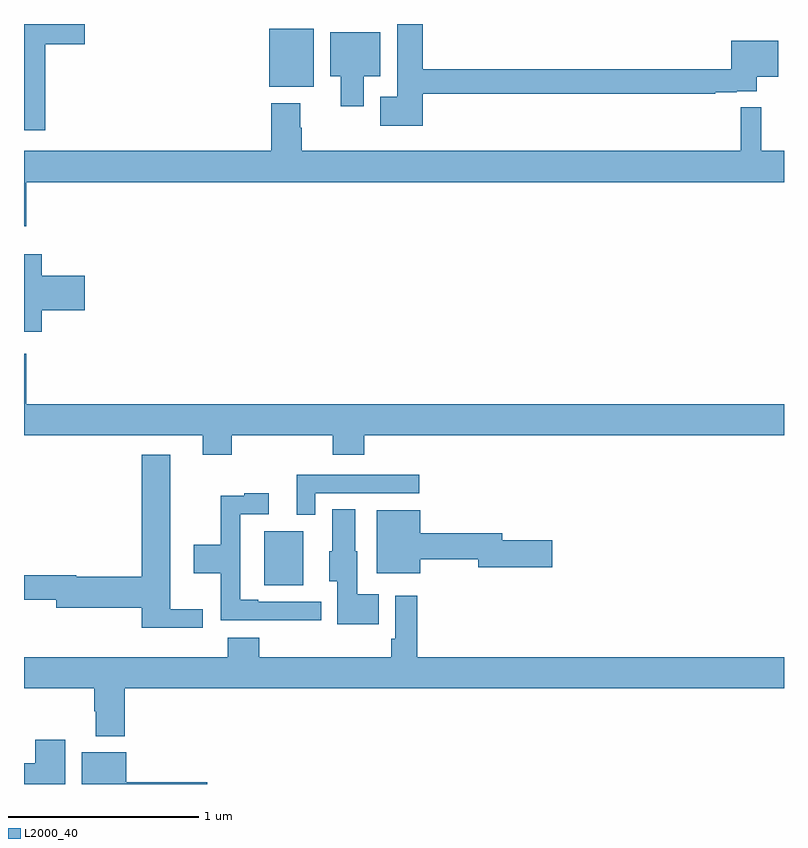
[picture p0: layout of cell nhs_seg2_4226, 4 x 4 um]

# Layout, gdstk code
import gdstk
lib = gdstk.Library(unit=1e-6, precision=1e-09)
def R(c, l, rs):  # rectangles x0, y0, x1, y1
    for r in rs: c.add(gdstk.rectangle(r[:2], r[2:], *l))
def P(c, l, *ps):  # polygons
    for p in ps: c.add(gdstk.Polygon(p, *l))
L2000_40 = (2000, 40)

nhs_seg2_4226 = lib.new_cell('nhs_seg2_4226')
R(nhs_seg2_4226, L2000_40, [(340.265,646.847,340.471,647.131), (340.292,649.469,340.525,649.774)])
P(nhs_seg2_4226, L2000_40, [(341.099,649.434),(342.638,649.434),(342.638,649.44),(342.752,649.44),(342.752,649.446),(342.856,649.446),(342.856,649.523),(342.97,649.523),(342.97,649.711),(342.722,649.711),(342.722,649.562),(341.099,649.562),(341.099,649.8),(340.964,649.8),(340.964,649.417),(340.874,649.417),(340.874,649.265),(341.099,649.265)],
  [(339.113,649.694),(339.319,649.694),(339.319,649.8),(339,649.8),(339,649.242),(339.113,649.242)],
  [(340.789,649.526),(340.876,649.526),(340.876,649.756),(340.613,649.756),(340.613,649.526),(340.667,649.526),(340.667,649.368),(340.789,649.368)],
  [(339.011,648.968),(343,648.968),(343,649.132),(342.881,649.132),(342.881,649.361),(342.772,649.361),(342.772,649.132),(340.461,649.132),(340.461,649.253),(340.453,649.253),(340.453,649.384),(340.301,649.384),(340.301,649.132),(339,649.132),(339,648.735),(339.011,648.735)],
  [(339.094,648.293),(339.319,648.293),(339.319,648.476),(339.094,648.476),(339.094,648.589),(339,648.589),(339,648.179),(339.094,648.179)],
  [(340.094,647.636),(340.625,647.636),(340.625,647.534),(340.79,647.534),(340.79,647.636),(343,647.636),(343,647.8),(339.011,647.8),(339.011,648.064),(339,648.064),(339,647.636),(339.941,647.636),(339.941,647.534),(340.094,647.534)],
  [(339.94,646.721),(339.769,646.721),(339.769,647.533),(339.62,647.533),(339.62,646.892),(339.274,646.892),(339.274,646.898),(339,646.898),(339,646.77),(339.17,646.77),(339.17,646.727),(339.62,646.727),(339.62,646.622),(339.94,646.622)],
  [(340.533,647.331),(341.08,647.331),(341.08,647.427),(340.436,647.427),(340.436,647.216),(340.533,647.216)],
  [(340.564,646.758),(340.234,646.758),(340.234,646.771),(340.137,646.771),(340.137,647.22),(340.288,647.22),(340.288,647.329),(340.16,647.329),(340.16,647.318),(340.036,647.318),(340.036,647.058),(339.894,647.058),(339.894,646.91),(340.036,646.91),(340.036,646.662),(340.321,646.662),(340.321,646.661),(340.564,646.661)],
  [(340.868,646.798),(340.753,646.798),(340.753,647.025),(340.744,647.025),(340.744,647.246),(340.622,647.246),(340.622,647.025),(340.607,647.025),(340.607,646.866),(340.649,646.866),(340.649,646.64),(340.868,646.64)],
  [(341.086,646.984),(341.39,646.984),(341.39,646.942),(341.779,646.942),(341.779,647.084),(341.518,647.084),(341.518,647.12),(341.086,647.12),(341.086,647.242),(340.856,647.242),(340.856,646.91),(341.086,646.91)],
  [(339.53,646.304),(343,646.304),(343,646.468),(341.069,646.468),(341.069,646.792),(340.953,646.792),(340.953,646.564),(340.933,646.564),(340.933,646.468),(340.238,646.468),(340.238,646.57),(340.073,646.57),(340.073,646.468),(339,646.468),(339,646.304),(339.37,646.304),(339.37,646.184),(339.377,646.184),(339.377,646.052),(339.53,646.052)],
  [(339.217,646.033),(339.059,646.033),(339.059,645.91),(339,645.91),(339,645.8),(339.217,645.8)],
  [(339.964,645.809),(339.538,645.809),(339.538,645.967),(339.305,645.967),(339.305,645.8),(339.964,645.8)])

lib.write_gds('nhs_seg2_4226.gds')
